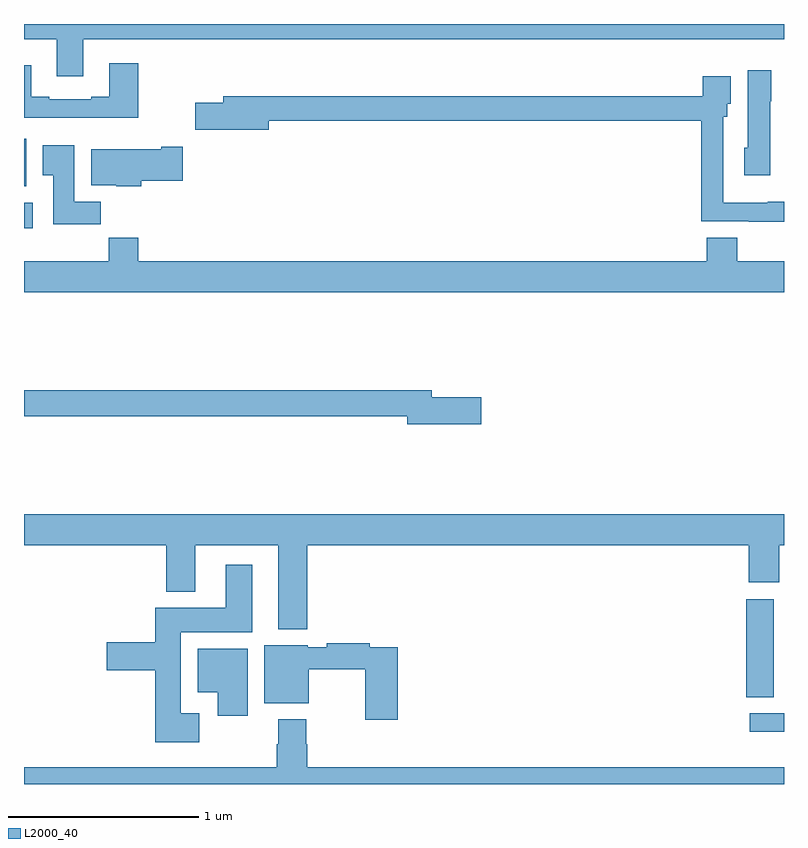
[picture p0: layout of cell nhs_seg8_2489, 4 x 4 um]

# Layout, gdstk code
import gdstk
lib = gdstk.Library(unit=1e-6, precision=1e-09)
def R(c, l, rs):  # rectangles x0, y0, x1, y1
    for r in rs: c.add(gdstk.rectangle(r[:2], r[2:], *l))
def P(c, l, *ps):  # polygons
    for p in ps: c.add(gdstk.Polygon(p, *l))
L2000_40 = (2000, 40)

nhs_seg8_2489 = lib.new_cell('nhs_seg8_2489')
R(nhs_seg8_2489, L2000_40, [(270.819,1126.176,271,1126.272), (270.8,1126.357,270.946,1126.873), (267,1128.824,267.046,1128.958), (267,1129.046,267.013,1129.296)])
P(nhs_seg8_2489, L2000_40, [(267.313,1129.82),(271,1129.82),(271,1129.9),(267,1129.9),(267,1129.82),(267.173,1129.82),(267.173,1129.626),(267.313,1129.626)],
  [(267.602,1129.693),(267.449,1129.693),(267.449,1129.516),(267.353,1129.516),(267.353,1129.503),(267.133,1129.503),(267.133,1129.516),(267.037,1129.516),(267.037,1129.684),(267,1129.684),(267,1129.406),(267.602,1129.406)],
  [(270.928,1129.494),(270.934,1129.494),(270.934,1129.657),(270.809,1129.657),(270.809,1129.248),(270.791,1129.248),(270.791,1129.104),(270.928,1129.104)],
  [(271,1128.964),(270.915,1128.964),(270.915,1128.958),(270.681,1128.958),(270.681,1129.413),(270.7,1129.413),(270.7,1129.479),(270.721,1129.479),(270.721,1129.624),(270.572,1129.624),(270.572,1129.519),(268.049,1129.519),(268.049,1129.485),(267.9,1129.485),(267.9,1129.343),(268.288,1129.343),(268.288,1129.39),(270.565,1129.39),(270.565,1128.861),(270.815,1128.861),(270.815,1128.86),(271,1128.86)],
  [(267.404,1128.964),(267.265,1128.964),(267.265,1129.261),(267.098,1129.261),(267.098,1129.105),(267.155,1129.105),(267.155,1128.846),(267.404,1128.846)],
  [(267.617,1129.075),(267.835,1129.075),(267.835,1129.253),(267.722,1129.253),(267.722,1129.24),(267.353,1129.24),(267.353,1129.052),(267.486,1129.052),(267.486,1129.046),(267.617,1129.046)],
  [(271,1128.652),(270.753,1128.652),(270.753,1128.776),(270.593,1128.776),(270.593,1128.652),(267.602,1128.652),(267.602,1128.776),(267.445,1128.776),(267.445,1128.652),(267,1128.652),(267,1128.488),(271,1128.488)],
  [(269.407,1127.936),(269.146,1127.936),(269.146,1127.972),(267,1127.972),(267,1127.836),(269.018,1127.836),(269.018,1127.794),(269.407,1127.794)],
  [(268.49,1127.156),(270.815,1127.156),(270.815,1126.962),(270.975,1126.962),(270.975,1127.156),(271,1127.156),(271,1127.32),(267,1127.32),(267,1127.156),(267.749,1127.156),(267.749,1126.913),(267.901,1126.913),(267.901,1127.156),(268.337,1127.156),(268.337,1126.715),(268.49,1126.715)],
  [(267.922,1126.273),(267.826,1126.273),(267.826,1126.7),(268.201,1126.7),(268.201,1127.053),(268.061,1127.053),(268.061,1126.828),(267.692,1126.828),(267.692,1126.646),(267.435,1126.646),(267.435,1126.499),(267.692,1126.499),(267.692,1126.121),(267.922,1126.121)],
  [(268.967,1126.62),(268.82,1126.62),(268.82,1126.64),(268.594,1126.64),(268.594,1126.62),(268.494,1126.62),(268.494,1126.63),(268.265,1126.63),(268.265,1126.325),(268.498,1126.325),(268.498,1126.504),(268.796,1126.504),(268.796,1126.239),(268.967,1126.239)],
  [(268.177,1126.612),(267.914,1126.612),(267.914,1126.382),(268.019,1126.382),(268.019,1126.26),(268.177,1126.26)],
  [(271,1125.988),(268.49,1125.988),(268.49,1126.109),(268.485,1126.109),(268.485,1126.24),(268.337,1126.24),(268.337,1126.109),(268.33,1126.109),(268.33,1125.988),(267,1125.988),(267,1125.9),(271,1125.9)])

lib.write_gds('nhs_seg8_2489.gds')
